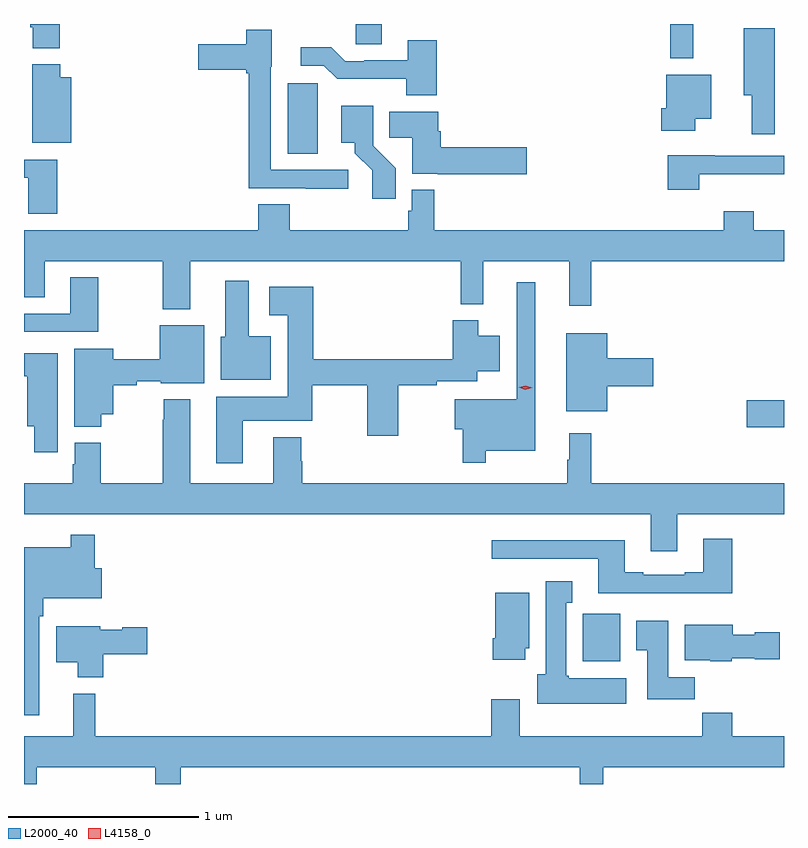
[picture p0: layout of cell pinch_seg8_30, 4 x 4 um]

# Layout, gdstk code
import gdstk
lib = gdstk.Library(unit=1e-6, precision=1e-09)
def R(c, l, rs):  # rectangles x0, y0, x1, y1
    for r in rs: c.add(gdstk.rectangle(r[:2], r[2:], *l))
def P(c, l, *ps):  # polygons
    for p in ps: c.add(gdstk.Polygon(p, *l))
L2000_40 = (2000, 40)
L4158_0 = (4158, 0)

pinch_seg8_30 = lib.new_cell('pinch_seg8_30')
R(pinch_seg8_30, L2000_40, [(892.413,1158.35,892.609,1158.6), (893.274,1159.582,893.471,1159.724), (890.858,1161.022,891.016,1161.393), (892.873,1161.525,892.994,1161.705), (891.216,1161.598,891.355,1161.705)])
P(pinch_seg8_30, L2000_40, [(889.658,1161.705),(889.505,1161.705),(889.505,1161.687),(889.517,1161.687),(889.517,1161.577),(889.658,1161.577)],
  [(893.422,1161.682),(893.258,1161.682),(893.258,1161.329),(893.3,1161.329),(893.3,1161.126),(893.422,1161.126)],
  [(891.178,1160.937),(890.769,1160.937),(890.769,1161.48),(890.776,1161.48),(890.776,1161.676),(890.64,1161.676),(890.64,1161.598),(890.388,1161.598),(890.388,1161.464),(890.64,1161.464),(890.64,1161.446),(890.653,1161.446),(890.653,1160.841),(890.953,1160.841),(890.953,1160.839),(891.178,1160.839)],
  [(891.644,1161.619),(891.491,1161.619),(891.491,1161.513),(891.262,1161.513),(891.262,1161.51),(891.162,1161.51),(891.089,1161.583),(890.928,1161.583),(890.928,1161.486),(891.048,1161.486),(891.119,1161.416),(891.484,1161.416),(891.484,1161.329),(891.644,1161.329)],
  [(889.72,1161.424),(889.661,1161.424),(889.661,1161.492),(889.514,1161.492),(889.514,1161.08),(889.72,1161.08)],
  [(893.004,1161.206),(893.089,1161.206),(893.089,1161.439),(892.85,1161.439),(892.85,1161.261),(892.826,1161.261),(892.826,1161.143),(893.004,1161.143)],
  [(891.428,1160.946),(891.309,1161.065),(891.309,1161.274),(891.14,1161.274),(891.14,1161.08),(891.212,1161.08),(891.212,1161.025),(891.303,1160.935),(891.303,1160.784),(891.428,1160.784)],
  [(892.117,1161.056),(891.665,1161.056),(891.665,1161.14),(891.652,1161.14),(891.652,1161.244),(891.394,1161.244),(891.394,1161.106),(891.515,1161.106),(891.515,1160.918),(891.648,1160.918),(891.648,1160.914),(892.117,1160.914)],
  [(893.024,1160.915),(893.471,1160.915),(893.471,1161.012),(893.107,1161.012),(893.107,1161.013),(892.859,1161.013),(892.859,1160.832),(893.024,1160.832)],
  [(889.646,1160.991),(889.471,1160.991),(889.471,1160.895),(889.493,1160.895),(889.493,1160.706),(889.646,1160.706)],
  [(889.471,1160.266),(889.579,1160.266),(889.579,1160.456),(890.2,1160.456),(890.2,1160.204),(890.347,1160.204),(890.347,1160.456),(891.769,1160.456),(891.769,1160.231),(891.887,1160.231),(891.887,1160.456),(892.34,1160.456),(892.34,1160.223),(892.457,1160.223),(892.457,1160.456),(893.471,1160.456),(893.471,1160.62),(893.313,1160.62),(893.313,1160.719),(893.153,1160.719),(893.153,1160.62),(891.629,1160.62),(891.629,1160.833),(891.513,1160.833),(891.513,1160.721),(891.493,1160.721),(891.493,1160.62),(890.87,1160.62),(890.87,1160.756),(890.705,1160.756),(890.705,1160.62),(889.471,1160.62)],
  [(889.863,1160.371),(889.715,1160.371),(889.715,1160.181),(889.471,1160.181),(889.471,1160.085),(889.863,1160.085)],
  [(890.77,1160.062),(890.653,1160.062),(890.653,1160.353),(890.531,1160.353),(890.531,1160.058),(890.507,1160.058),(890.507,1159.832),(890.77,1159.832)],
  [(891.901,1159.46),(892.162,1159.46),(892.162,1160.347),(892.065,1160.347),(892.065,1159.729),(891.738,1159.729),(891.738,1159.571),(891.78,1159.571),(891.78,1159.395),(891.901,1159.395)],
  [(890.623,1159.616),(890.988,1159.616),(890.988,1159.804),(891.277,1159.804),(891.277,1159.539),(891.442,1159.539),(891.442,1159.804),(891.644,1159.804),(891.644,1159.824),(891.856,1159.824),(891.856,1159.877),(891.976,1159.877),(891.976,1160.065),(891.862,1160.065),(891.862,1160.146),(891.728,1160.146),(891.728,1159.94),(890.993,1159.94),(890.993,1160.323),(890.763,1160.323),(890.763,1160.171),(890.858,1160.171),(890.858,1159.744),(890.483,1159.744),(890.483,1159.392),(890.623,1159.392)],
  [(889.878,1159.652),(889.942,1159.652),(889.942,1159.804),(890.064,1159.804),(890.064,1159.824),(890.19,1159.824),(890.19,1159.814),(890.419,1159.814),(890.419,1160.119),(890.186,1160.119),(890.186,1159.94),(889.942,1159.94),(889.942,1159.996),(889.736,1159.996),(889.736,1159.585),(889.878,1159.585)],
  [(892.54,1159.799),(892.783,1159.799),(892.783,1159.946),(892.54,1159.946),(892.54,1160.077),(892.325,1160.077),(892.325,1159.667),(892.54,1159.667)],
  [(889.648,1159.972),(889.471,1159.972),(889.471,1159.85),(889.487,1159.85),(889.487,1159.589),(889.526,1159.589),(889.526,1159.452),(889.648,1159.452)],
  [(892.909,1159.124),(893.471,1159.124),(893.471,1159.288),(892.457,1159.288),(892.457,1159.552),(892.34,1159.552),(892.34,1159.412),(892.329,1159.412),(892.329,1159.288),(890.936,1159.288),(890.936,1159.404),(890.931,1159.404),(890.931,1159.531),(890.783,1159.531),(890.783,1159.288),(890.347,1159.288),(890.347,1159.729),(890.207,1159.729),(890.207,1159.622),(890.2,1159.622),(890.2,1159.288),(889.875,1159.288),(889.875,1159.5),(889.739,1159.5),(889.739,1159.389),(889.727,1159.389),(889.727,1159.288),(889.471,1159.288),(889.471,1159.124),(892.769,1159.124),(892.769,1158.93),(892.909,1158.93)],
  [(889.551,1158.587),(889.571,1158.587),(889.571,1158.683),(889.879,1158.683),(889.879,1158.841),(889.844,1158.841),(889.844,1159.018),(889.716,1159.018),(889.716,1158.952),(889.471,1158.952),(889.471,1158.066),(889.551,1158.066)],
  [(893.198,1158.997),(893.045,1158.997),(893.045,1158.82),(892.949,1158.82),(892.949,1158.807),(892.729,1158.807),(892.729,1158.82),(892.633,1158.82),(892.633,1158.988),(891.933,1158.988),(891.933,1158.891),(892.493,1158.891),(892.493,1158.71),(893.198,1158.71)],
  [(892.642,1158.262),(892.338,1158.262),(892.338,1158.276),(892.324,1158.276),(892.324,1158.659),(892.357,1158.659),(892.357,1158.772),(892.217,1158.772),(892.217,1158.282),(892.172,1158.282),(892.172,1158.128),(892.642,1158.128)],
  [(892.108,1158.42),(892.129,1158.42),(892.129,1158.712),(891.95,1158.712),(891.95,1158.472),(891.938,1158.472),(891.938,1158.36),(892.108,1158.36)],
  [(893,1158.268),(892.861,1158.268),(892.861,1158.565),(892.694,1158.565),(892.694,1158.409),(892.751,1158.409),(892.751,1158.15),(893,1158.15)],
  [(893.196,1158.368),(893.316,1158.368),(893.316,1158.361),(893.449,1158.361),(893.449,1158.503),(893.316,1158.503),(893.316,1158.49),(893.2,1158.49),(893.2,1158.544),(892.949,1158.544),(892.949,1158.356),(893.082,1158.356),(893.082,1158.35),(893.196,1158.35)],
  [(889.889,1158.388),(890.119,1158.388),(890.119,1158.53),(889.989,1158.53),(889.989,1158.517),(889.872,1158.517),(889.872,1158.535),(889.64,1158.535),(889.64,1158.347),(889.754,1158.347),(889.754,1158.266),(889.889,1158.266)],
  [(889.538,1157.792),(890.161,1157.792),(890.161,1157.705),(890.297,1157.705),(890.297,1157.792),(892.397,1157.792),(892.397,1157.705),(892.519,1157.705),(892.519,1157.792),(893.471,1157.792),(893.471,1157.956),(893.198,1157.956),(893.198,1158.08),(893.041,1158.08),(893.041,1157.956),(892.081,1157.956),(892.081,1158.151),(891.929,1158.151),(891.929,1157.956),(889.847,1157.956),(889.847,1158.181),(889.73,1158.181),(889.73,1157.956),(889.471,1157.956),(889.471,1157.705),(889.538,1157.705)])
P(pinch_seg8_30, L4158_0, [(892.11,1159.781),(892.075,1159.793),(892.075,1159.793),(892.075,1159.793),(892.111,1159.801),(892.146,1159.79),(892.146,1159.79),(892.146,1159.79)])

lib.write_gds('pinch_seg8_30.gds')
